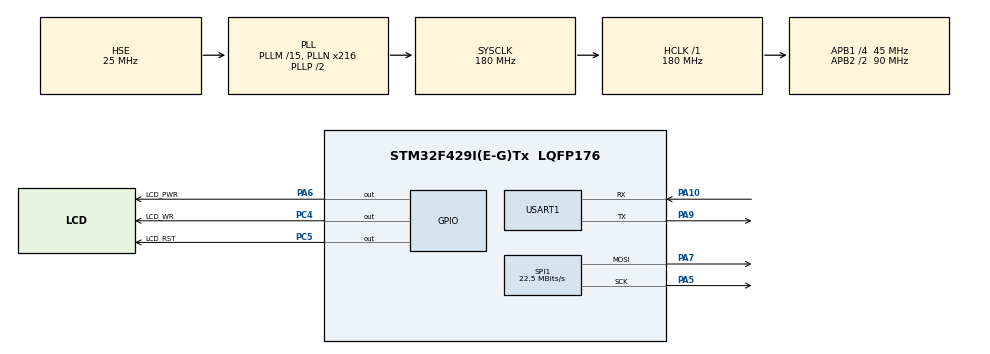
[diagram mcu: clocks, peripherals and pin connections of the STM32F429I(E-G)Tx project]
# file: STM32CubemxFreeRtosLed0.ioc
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Dma.Request0=SPI1_TX
Dma.SPI1_TX.0.Direction=DMA_MEMORY_TO_PERIPH
Dma.SPI1_TX.0.FIFOMode=DMA_FIFOMODE_DISABLE
Dma.SPI1_TX.0.Instance=DMA2_Stream3
Dma.SPI1_TX.0.MemDataAlignment=DMA_MDATAALIGN_BYTE
Dma.SPI1_TX.0.MemInc=DMA_MINC_ENABLE
Dma.SPI1_TX.0.Mode=DMA_NORMAL
Dma.SPI1_TX.0.PeriphDataAlignment=DMA_PDATAALIGN_BYTE
Dma.SPI1_TX.0.PeriphInc=DMA_PINC_DISABLE
Dma.SPI1_TX.0.Priority=DMA_PRIORITY_MEDIUM
FREERTOS.BinarySemaphores01=DMA_Semaphore,Dynamic,NULL
FREERTOS.Tasks01=defaultTask,24,128,StartDefaultTask,Default,NULL,Dynamic,NULL,NULL;Tft_ReFlash_Tas,40,128,Tft_ReFlash_Task,Default,NULL,Dynamic,NULL,NULL
Mcu.Family=STM32F4
Mcu.Name=STM32F429I(E-G)Tx
Mcu.Package=LQFP176
NVIC.DMA2_Stream3_IRQn=true\:5\:0\:false\:false\:true\:true\:false\:true\:true
NVIC.PriorityGroup=NVIC_PRIORITYGROUP_4
NVIC.SPI1_IRQn=true\:5\:0\:false\:false\:true\:true\:true\:true\:true
NVIC.TIM1_UP_TIM10_IRQn=true\:15\:0\:false\:false\:true\:false\:false\:true\:true
NVIC.TIM6_DAC_IRQn=true\:5\:0\:false\:false\:true\:true\:true\:true\:true
NVIC.TimeBase=TIM1_UP_TIM10_IRQn
NVIC.TimeBaseIP=TIM1
PA10.Mode=Asynchronous
PA10.Signal=USART1_RX
PA13.Mode=JTAG_5_pins
PA13.Signal=SYS_JTMS-SWDIO
PA14.Mode=JTAG_5_pins
PA14.Signal=SYS_JTCK-SWCLK
PA15.Mode=JTAG_5_pins
PA15.Signal=SYS_JTDI
PA5.Mode=TX_Only_Simplex_Unidirect_Master
PA5.Signal=SPI1_SCK
PA6.GPIO_Label=LCD_PWR
PA6.Signal=GPIO_Output
PA7.Mode=TX_Only_Simplex_Unidirect_Master
PA7.Signal=SPI1_MOSI
PA9.Mode=Asynchronous
PA9.Signal=USART1_TX
PB3.Mode=JTAG_5_pins
PB3.Signal=SYS_JTDO-SWO
PB4.Mode=JTAG_5_pins
PB4.Signal=SYS_JTRST
PC4.GPIO_Label=LCD_WR
PC4.Signal=GPIO_Output
PC5.GPIO_Label=LCD_RST
PC5.Signal=GPIO_Output
PH0/OSC_IN.Mode=HSE-External-Oscillator
PH0/OSC_IN.Signal=RCC_OSC_IN
PH1/OSC_OUT.Mode=HSE-External-Oscillator
PH1/OSC_OUT.Signal=RCC_OSC_OUT
ProjectManager.HeapSize=0x400
ProjectManager.StackSize=0x800
ProjectManager.TargetToolchain=MDK-ARM V5.32
RCC.48MHZClocksFreq_Value=90000000
RCC.AHBFreq_Value=180000000
RCC.APB1CLKDivider=RCC_HCLK_DIV4
RCC.APB1Freq_Value=45000000
RCC.APB1TimFreq_Value=90000000
RCC.APB2CLKDivider=RCC_HCLK_DIV2
RCC.APB2Freq_Value=90000000
RCC.APB2TimFreq_Value=180000000
RCC.CortexFreq_Value=180000000
RCC.HCLKFreq_Value=180000000
RCC.HSE_VALUE=25000000
RCC.HSI_VALUE=16000000
RCC.LSE_VALUE=32768
RCC.PLLM=15
RCC.PLLN=216
RCC.PLLSourceVirtual=RCC_PLLSOURCE_HSE
RCC.SYSCLKFreq_VALUE=180000000
RCC.SYSCLKSource=RCC_SYSCLKSOURCE_PLLCLK
RCC.VCOOutputFreq_Value=360000000
SPI1.BaudRatePrescaler=SPI_BAUDRATEPRESCALER_4
SPI1.CLKPolarity=SPI_POLARITY_HIGH
SPI1.CalculateBaudRate=22.5 MBits/s
SPI1.Direction=SPI_DIRECTION_2LINES
SPI1.Mode=SPI_MODE_MASTER
SPI1.VirtualType=VM_MASTER
TIM6.AutoReloadPreload=TIM_AUTORELOAD_PRELOAD_ENABLE
TIM6.Period=50-1
TIM6.Prescaler=90-1
USART1.VirtualMode=VM_ASYNC
VP_FREERTOS_VS_CMSIS_V2.Mode=CMSIS_V2
VP_SYS_VS_tim1.Mode=TIM1
VP_TIM6_VS_ClockSourceINT.Mode=Enable_Timer
board=custom

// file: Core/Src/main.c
/* USER CODE BEGIN Header */
/**
  ******************************************************************************
  * @file           : main.c
  * @brief          : Main program body
  ******************************************************************************
  * @attention
  *
  * Copyright (c) 2023 STMicroelectronics.
  * All rights reserved.
  *
  * This software is licensed under terms that can be found in the LICENSE file
  * in the root directory of this software component.
  * If no LICENSE file comes with this software, it is provided AS-IS.
  *
  ******************************************************************************
  */
/* USER CODE END Header */
#include "main.h"
#include "cmsis_os.h"
#include "dma.h"
#include "spi.h"
#include "tim.h"
#include "usart.h"
#include "gpio.h"

/* USER CODE BEGIN Includes */
#include "lvgl.h"
#include "lv_port_disp_template.h"
#include "lv_demo_keypad_encoder.h"
#include "lv_demo_widgets.h"
#include "lv_demo_benchmark.h"
#include "lv_demo_stress.h"
/* USER CODE END Includes */

/* USER CODE BEGIN PTD */
uint32_t g_osRuntimeCounter;
/* USER CODE END PTD */

void SystemClock_Config(void);
void MX_FREERTOS_Init(void);

int main(void)
{

  /* MCU Configuration--------------------------------------------------------*/

  /* Reset of all peripherals, Initializes the Flash interface and the Systick. */
  HAL_Init();

  /* Configure the system clock */
  SystemClock_Config();

  /* Initialize all configured peripherals */
  MX_GPIO_Init();
  MX_DMA_Init();
  MX_USART1_UART_Init();
  MX_TIM6_Init();
  MX_SPI1_Init();
  /* USER CODE BEGIN 2 */
//  LCD_Init();
//	lv_init();
//	lv_port_disp_init();
	//lv_demo_keypad_encoder();
	//lv_demo_widgets();
	//lv_demo_benchmark();
	//lv_demo_stress();
	//lv_demo_music();
  //lv_ex_label();
  /* USER CODE END 2 */

  /* Init scheduler */
  osKernelInitialize();  /* Call init function for freertos objects (in freertos.c) */
  MX_FREERTOS_Init();
  /* Start scheduler */
  osKernelStart();

  /* We should never get here as control is now taken by the scheduler */
  /* Infinite loop */
  while (1)
  {

    /* USER CODE BEGIN 3 */
//		lv_task_handler();
//		HAL_Delay(10);
//  		osDelay(1000);
  }
  /* USER CODE END 3 */
}

void SystemClock_Config(void)
{
  RCC_OscInitTypeDef RCC_OscInitStruct = {0};
  RCC_ClkInitTypeDef RCC_ClkInitStruct = {0};

  /** Configure the main internal regulator output voltage
  */
  __HAL_RCC_PWR_CLK_ENABLE();
  __HAL_PWR_VOLTAGESCALING_CONFIG(PWR_REGULATOR_VOLTAGE_SCALE1);
  /** Initializes the RCC Oscillators according to the specified parameters
  * in the RCC_OscInitTypeDef structure.
  */
  RCC_OscInitStruct.OscillatorType = RCC_OSCILLATORTYPE_HSE;
  RCC_OscInitStruct.HSEState = RCC_HSE_ON;
  RCC_OscInitStruct.PLL.PLLState = RCC_PLL_ON;
  RCC_OscInitStruct.PLL.PLLSource = RCC_PLLSOURCE_HSE;
  RCC_OscInitStruct.PLL.PLLM = 15;
  RCC_OscInitStruct.PLL.PLLN = 216;
  RCC_OscInitStruct.PLL.PLLP = RCC_PLLP_DIV2;
  RCC_OscInitStruct.PLL.PLLQ = 4;
  if (HAL_RCC_OscConfig(&RCC_OscInitStruct) != HAL_OK)
  {
    Error_Handler();
  }
  /** Activate the Over-Drive mode
  */
  if (HAL_PWREx_EnableOverDrive() != HAL_OK)
  {
    Error_Handler();
  }
  /** Initializes the CPU, AHB and APB buses clocks
  */
  RCC_ClkInitStruct.ClockType = RCC_CLOCKTYPE_HCLK|RCC_CLOCKTYPE_SYSCLK
                              |RCC_CLOCKTYPE_PCLK1|RCC_CLOCKTYPE_PCLK2;
  RCC_ClkInitStruct.SYSCLKSource = RCC_SYSCLKSOURCE_PLLCLK;
  RCC_ClkInitStruct.AHBCLKDivider = RCC_SYSCLK_DIV1;
  RCC_ClkInitStruct.APB1CLKDivider = RCC_HCLK_DIV4;
  RCC_ClkInitStruct.APB2CLKDivider = RCC_HCLK_DIV2;

  if (HAL_RCC_ClockConfig(&RCC_ClkInitStruct, FLASH_LATENCY_5) != HAL_OK)
  {
    Error_Handler();
  }
}

void HAL_TIM_PeriodElapsedCallback(TIM_HandleTypeDef *htim)
{
  if (htim->Instance == TIM1) {
    HAL_IncTick();
  }
  /* USER CODE BEGIN Callback 1 */
  if (htim->Instance==TIM6)
  {
      g_osRuntimeCounter++;

  }

  /* USER CODE END Callback 1 */
}

void Error_Handler(void)
{
  __disable_irq();
  while (1)
  {
  }
}

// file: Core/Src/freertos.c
/* USER CODE BEGIN Header */
/**
  ******************************************************************************
  * File Name          : freertos.c
  * Description        : Code for freertos applications
  ******************************************************************************
  * @attention
  *
  * Copyright (c) 2023 STMicroelectronics.
  * All rights reserved.
  *
  * This software is licensed under terms that can be found in the LICENSE file
  * in the root directory of this software component.
  * If no LICENSE file comes with this software, it is provided AS-IS.
  *
  ******************************************************************************
  */
/* USER CODE END Header */

#include "FreeRTOS.h"
#include "task.h"
#include "main.h"
#include "cmsis_os.h"

/* USER CODE BEGIN Includes */
#include "stdio.h"
#include <string.h>
#include "spi.h"
#include "lvgl.h"
#include "lv_port_disp_template.h"
#include "lv_demo_benchmark.h"
/* USER CODE END Includes */

/* Definitions for defaultTask */
osThreadId_t defaultTaskHandle;
const osThreadAttr_t defaultTask_attributes = {
  .name = "defaultTask",
  .stack_size = 128 * 4,
  .priority = (osPriority_t) osPriorityNormal,
};
/* Definitions for Tft_ReFlash_Tas */
osThreadId_t Tft_ReFlash_TasHandle;
const osThreadAttr_t Tft_ReFlash_Tas_attributes = {
  .name = "Tft_ReFlash_Tas",
  .stack_size = 512 * 4,
  .priority = (osPriority_t) osPriorityHigh,
};
/* Definitions for DMA_Semaphore */
osSemaphoreId_t DMA_SemaphoreHandle;
const osSemaphoreAttr_t DMA_Semaphore_attributes = {
  .name = "DMA_Semaphore"
};

void StartDefaultTask(void *argument);
void Tft_ReFlash_Task(void *argument);

void MX_FREERTOS_Init(void); /* (MISRA C 2004 rule 8.1) */

void MX_FREERTOS_Init(void) {

  /* Create the semaphores(s) */
  /* creation of DMA_Semaphore */
  DMA_SemaphoreHandle = osSemaphoreNew(1, 1, &DMA_Semaphore_attributes);

  /* Create the thread(s) */
  /* creation of defaultTask */
  defaultTaskHandle = osThreadNew(StartDefaultTask, NULL, &defaultTask_attributes);

  /* creation of Tft_ReFlash_Tas */
  Tft_ReFlash_TasHandle = osThreadNew(Tft_ReFlash_Task, NULL, &Tft_ReFlash_Tas_attributes);

}

void StartDefaultTask(void *argument)
{
  /* USER CODE BEGIN StartDefaultTask */
  /* Infinite loop */
  for(;;)
  {
    //HAL_GPIO_WritePin(GPIOB,GPIO_PIN_0,GPIO_PIN_RESET);
    osDelay(1000);
  }
  /* USER CODE END StartDefaultTask */
}

void Tft_ReFlash_Task(void *argument)
{
  /* USER CODE BEGIN Tft_ReFlash_Task */
	LCD_Init();
	lv_init();
	lv_port_disp_init();
	lv_demo_benchmark();
  /* Infinite loop */
  for(;;)
  {
		lv_task_handler();
    osDelay(5);
  }
  /* Infinite loop */
  /* USER CODE END Tft_ReFlash_Task */
}
